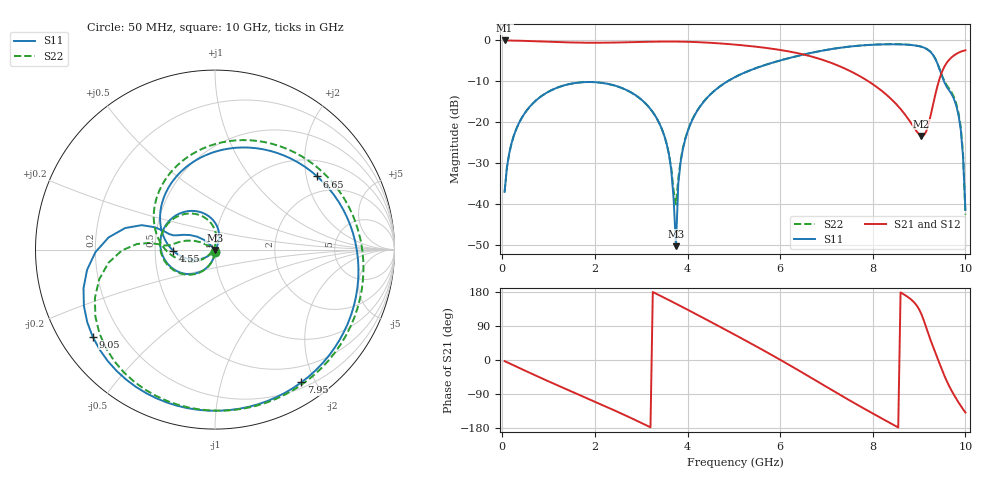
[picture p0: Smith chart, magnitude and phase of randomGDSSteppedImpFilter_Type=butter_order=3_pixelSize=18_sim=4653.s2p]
! freq	dB(S11)	phase(S11)	dB(S12)	phase(S12)
!  dB(S21)	phase(S21)	dB(S22)	phase(S22)
!S-par simulation data
#  GHz  S  DB  R 50
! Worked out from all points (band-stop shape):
!   200 points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, 50 MHz to 10 GHz, reference 50 ohm
!   highest |S21| = -0.01 dB at 50 MHz (marker M1); lowest = -23.4 dB at 9.05 GHz (marker M2)
!   |S21| within 3 dB of the highest: start of sweep to 6.328 GHz; 9.85 GHz to end of sweep
!   lowest |S11| = -50.4 dB at 3.75 GHz (marker M3), VSWR 1.01, Z = 49.8 - j0.231 ohm
!   |S11| at or under -10 dB: start of sweep to 4.866 GHz; 9.537 GHz to end of sweep
!   |S22| runs from -42.7 to -0.9 dB; largest |S21 - S12| = 0
!   S11 on the Smith chart (normalised r, x): 50 MHz: 1.00, -0.03; 4.55 GHz: 0.62, -0.01; 6.65 GHz: 1.45, +2.32; 7.95 GHz: 0.27, -1.81; 9.05 GHz: 0.10, -0.32; 10 GHz: 1.00, -0.02
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0.05  -37.11 -92.8  -0.01 -2.9  -0.01 -2.9  -37.08 -92.6
0.2  -25.19 -101.9  -0.03 -11.5  -0.03 -11.5  -25.19 -101.6
0.5  -17.58 -119.6  -0.12 -28.6  -0.12 -28.6  -17.58 -118.7
1.75  -10.22 171.0  -0.55 -96.7  -0.55 -96.7  -10.23 174.4
3.4  -20.52 76.2  -0.28 170.3  -0.28 170.3  -20.52 87.9
3.65  -31.82 60.8  -0.27 154.9  -0.27 154.9  -31.43 87.5
3.75  -50.40 -129.7  -0.28 148.6  -0.28 148.6  -40.20 172.0
3.8  -35.13 -129.9  -0.29 145.5  -0.29 145.5  -33.90 -149.0
3.95  -24.23 -139.1  -0.32 136.0  -0.32 136.0  -24.07 -139.4
4.55  -12.63 -178.6  -0.61 97.4  -0.61 97.4  -12.61 -170.5
5.05  -8.85 147.8  -1.05 64.8  -1.05 64.8  -8.84 158.8
5.85  -5.40 92.7  -2.07 11.1  -2.07 11.1  -5.40 106.8
6.65  -3.09 35.6  -3.86 -45.5  -3.86 -45.5  -3.10 50.7
6.7  -2.97 31.9  -4.01 -49.1  -4.01 -49.1  -2.98 47.1
7.35  -1.71 -14.8  -6.64 -95.9  -6.64 -95.9  -1.71 -0.5
7.95  -1.09 -56.9  -10.35 -137.7  -10.35 -137.7  -1.07 -43.7
8.35  -0.94 -85.0  -13.85 -164.5  -13.85 -164.5  -0.92 -72.4
9.05  -1.55 -144.6  -23.44 121.0  -23.44 121.0  -1.54 -132.1
9.5  -8.96 159.6  -7.53 -27.5  -7.53 -27.5  -8.74 174.1
9.8  -15.85 149.8  -3.32 -101.8  -3.32 -101.8  -15.41 163.0
9.95  -28.65 134.2  -2.56 -130.0  -2.56 -130.0  -27.73 149.4
10  -41.48 -78.4  -2.42 -138.6  -2.42 -138.6  -42.68 -89.9
